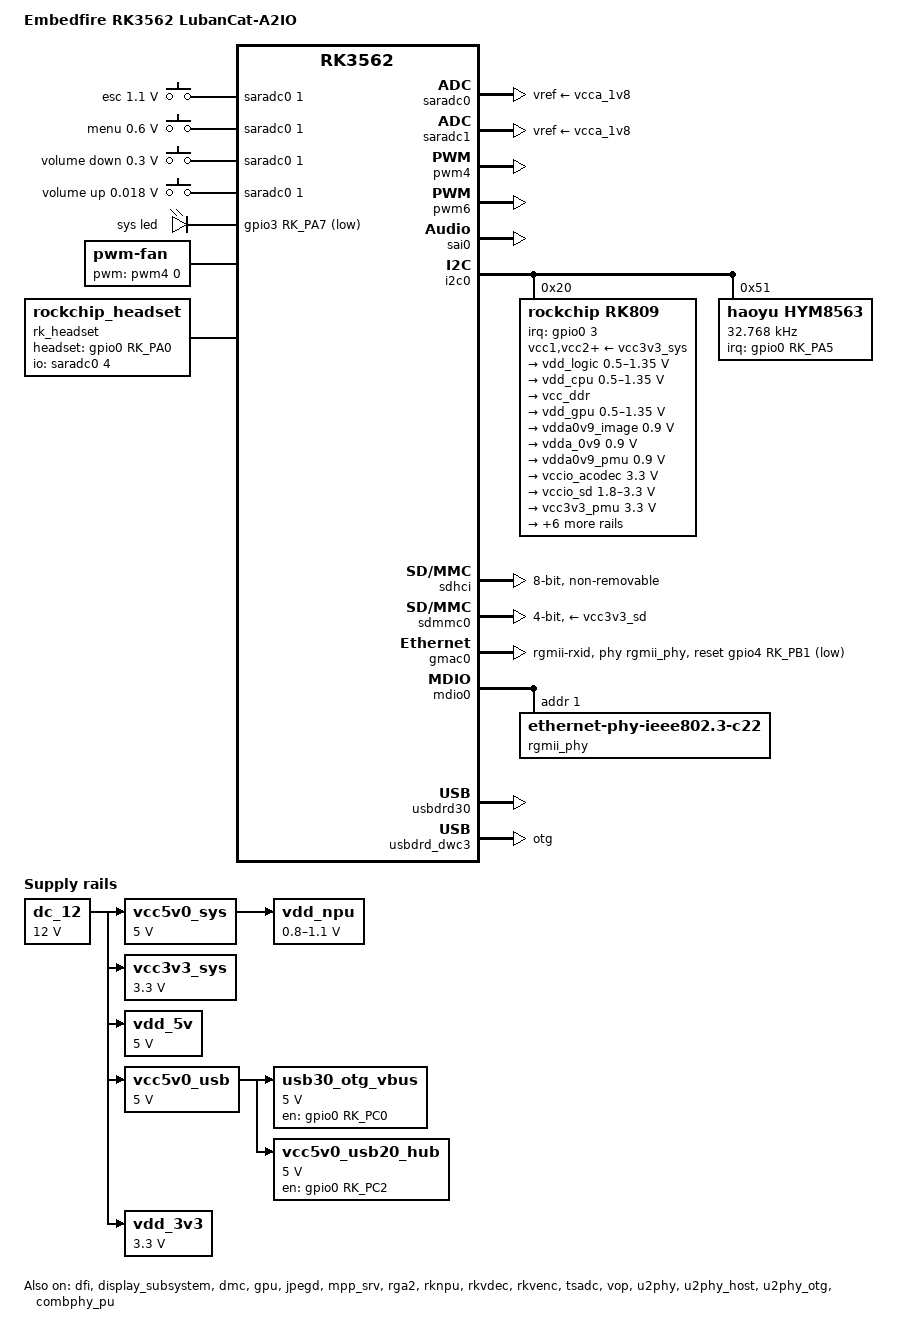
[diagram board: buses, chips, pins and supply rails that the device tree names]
// SPDX-License-Identifier: (GPL-2.0+ OR MIT)
/*
 * Copyright (c) 2022 Rockchip Electronics Co., Ltd.
 *
 */

/dts-v1/;

#include <dt-bindings/display/drm_mipi_dsi.h>
#include <dt-bindings/gpio/gpio.h>
#include <dt-bindings/input/input.h>
#include <dt-bindings/pinctrl/rockchip.h>
#include <dt-bindings/pinctrl/rockchip.h>
#include <dt-bindings/sensor-dev.h>
#include "dt-bindings/usb/pd.h"
#include "rk3562.dtsi"
#include "rk3562-linux.dtsi"

/ {
    model = "Embedfire RK3562 LubanCat-A2IO";
    compatible = "embedfire,rk3562-lubancat-a2io", "rockchip,rk3562";

    adc-keys {
        compatible = "adc-keys";
        io-channels = <&saradc0 1>;
        io-channel-names = "buttons";
        poll-interval = <100>;
        keyup-threshold-microvolt = <1800000>;

        esc-key {
            linux,code = <KEY_ESC>;
            label = "esc";
            press-threshold-microvolt = <1100000>;
        };

        menu-key {
            linux,code = <KEY_MENU>;
            label = "menu";
            press-threshold-microvolt = <600000>;
        };

        vol-down-key {
            linux,code = <KEY_VOLUMEDOWN>;
            label = "volume down";
            press-threshold-microvolt = <300000>;
        };

        vol-up-key {
            linux,code = <KEY_VOLUMEUP>;
            label = "volume up";
            press-threshold-microvolt = <18000>;
        };
    };

    dc_12: dc-12v {
        compatible = "regulator-fixed";
        regulator-name = "dc_12v";
        regulator-always-on;
        regulator-boot-on;
        regulator-min-microvolt = <12000000>;
        regulator-max-microvolt = <12000000>;
    };

    vcc5v0_sys: vcc5v0-sys {
        compatible = "regulator-fixed";
        regulator-name = "vcc5v0_sys";
        regulator-always-on;
        regulator-boot-on;
        regulator-min-microvolt = <5000000>;
        regulator-max-microvolt = <5000000>;
        vin-supply = <&dc_12>;
    };

    vcc3v3_sys: vcc3v3-sys {
        compatible = "regulator-fixed";
        regulator-name = "vcc3v3_sys";
        regulator-always-on;
        regulator-boot-on;
        regulator-min-microvolt = <3300000>;
        regulator-max-microvolt = <3300000>;
        vin-supply = <&dc_12>;
    };

    vdd_5v: vdd-5v {
        compatible = "regulator-fixed";
        regulator-name = "vdd_5v";
        regulator-always-on;
        regulator-boot-on;
        regulator-min-microvolt = <5000000>;
        regulator-max-microvolt = <5000000>;
        vin-supply = <&dc_12>;
    };

    vcc5v0_usb: vcc5v0-usb {
        compatible = "regulator-fixed";
        regulator-name = "vcc5v0_usb";
        regulator-always-on;
        regulator-boot-on;
        regulator-min-microvolt = <5000000>;
        regulator-max-microvolt = <5000000>;
        vin-supply = <&dc_12>;
    };

    vdd_5v: vdd-5v {
        compatible = "regulator-fixed";
        regulator-name = "vdd_5v";
        regulator-always-on;
        regulator-boot-on;
        regulator-min-microvolt = <5000000>;
        regulator-max-microvolt = <5000000>;
        vin-supply = <&dc_12>;
    };

    vdd_3v3: vdd-3v3 {
        compatible = "regulator-fixed";
        regulator-name = "vdd_3v3";
        regulator-always-on;
        regulator-boot-on;
        regulator-min-microvolt = <3300000>;
        regulator-max-microvolt = <3300000>;
        vin-supply = <&dc_12>;
    };    

	vdd_npu: vdd-npu {
		compatible = "pwm-regulator";
		pwms = <&pwm6 0 5000 1>;
		regulator-name = "vdd_npu";
		regulator-min-microvolt = <800000>;
		regulator-max-microvolt = <1100000>;
		regulator-init-microvolt = <900000>;
		regulator-always-on;
		regulator-boot-on;
		regulator-settling-time-up-us = <250>;
		pwm-supply = <&vcc5v0_sys>;
		status = "okay";
	};

    usb30_otg_vbus: usb30-otg-vbus-regulator {
        compatible = "regulator-fixed";
        enable-active-high;
        regulator-min-microvolt = <5000000>;
        regulator-max-microvolt = <5000000>;
        gpio = <&gpio0 RK_PC0 GPIO_ACTIVE_HIGH>;
        pinctrl-names = "default";
        pinctrl-0 = <&usb30_otg_vbus_en>;
        regulator-name = "usb30_otg_vbus";
		vin-supply = <&vcc5v0_usb>;
    };

    vcc5v0_usb20_hub: vcc5v0-usb20-hub-regulator {
        compatible = "regulator-fixed";
        enable-active-high;
        regulator-min-microvolt = <5000000>;
        regulator-max-microvolt = <5000000>;
        gpio = <&gpio0 RK_PC2 GPIO_ACTIVE_HIGH>;
        pinctrl-names = "default";
        pinctrl-0 = <&vcc5v0_usb20_hub_en>;
        regulator-name = "vcc5v0_usb20_hub";
		vin-supply = <&vcc5v0_usb>;
    };

	leds: leds {
		status = "okay";
		compatible = "gpio-leds";

		sys_led: sys-led {
			label = "sys led";
			linux,default-trigger = "heartbeat";
			default-state = "on";
			gpios = <&gpio3 RK_PA7 GPIO_ACTIVE_LOW>;
			pinctrl-names = "default";
			pinctrl-0 = <&sys_led_pin>;
		};
	};

    fan: pwm-fan {
        compatible = "pwm-fan";
        #cooling-cells = <2>;
        pwms = <&pwm4 0 5000 0>;
        cooling-levels = <0 100 150 200 255>;
        rockchip,temp-trips = <
            35000   1
            40000   2
            45000   3
            50000   4
        >;
    };

    rk809_sound: rk809-sound {
        status = "okay";
        compatible = "simple-audio-card";
        simple-audio-card,format = "i2s";
        simple-audio-card,name = "rockchip,rk809-codec";
        simple-audio-card,mclk-fs = <256>;
        simple-audio-card,widgets =
            "Microphone", "Mic Jack",
            "Headphone", "Headphone Jack";
        simple-audio-card,routing =
            "Mic Jack", "MICBIAS1",
            "IN1P", "Mic Jack",
            "Headphone Jack", "HPOL",
            "Headphone Jack", "HPOR";
        simple-audio-card,cpu {
            sound-dai = <&sai0>;
        };
        simple-audio-card,codec {
            sound-dai = <&rk809_codec>;
        };
    };

    rk_headset: rk-headset {
        status = "okay";
        compatible = "rockchip_headset";
        headset_gpio = <&gpio0 RK_PA0 GPIO_ACTIVE_HIGH>;
        pinctrl-names = "default";
        pinctrl-0 = <&hp_det>;
        io-channels = <&saradc0 4>;
    };
};

&cpu0 {
	cpu-supply = <&vdd_cpu>;
};

&dfi {
	status = "okay";
};

&display_subsystem {
	status = "okay";
};

&dmc {
	center-supply = <&vdd_logic>;
	status = "okay";
};

&gpu {
	status = "okay";
	mali-supply = <&vdd_gpu>;
};

&jpegd {
	status = "okay";
};

&jpegd_mmu {
	status = "okay";
};

&mpp_srv {
	status = "okay";
};

&rga2 {
	status = "okay";
};

&rga2_mmu {
	status = "okay";
};

&rknpu {
	rknpu-supply = <&vdd_npu>;
	status = "okay";
};

&rknpu_mmu {
	status = "okay";
};

&rkvdec {
	status = "okay";
};

&rkvdec_mmu {
	status = "okay";
};

&rkvenc {
	status = "okay";
};

&rkvenc_mmu {
	status = "okay";
};

&tsadc {
	status = "okay";
};

&vop {
	status = "okay";
};

&vop_mmu {
	status = "okay";
};

&saradc0 {
	status = "okay";
	vref-supply = <&vcca_1v8>;
};

&saradc1 {
	status = "okay";
	vref-supply = <&vcca_1v8>;
};

&pwm4 {
	status = "okay";
};

&pwm6 {
	status = "okay";
};

&sai0 {
	status = "okay";
	pinctrl-names = "default";
	pinctrl-0 = <&i2s0m0_lrck
		     &i2s0m0_sclk
		     &i2s0m0_sdi0
		     &i2s0m0_sdo0>;
};

&i2c0 {
	status = "okay";

	rk809: pmic@20 {
		compatible = "rockchip,rk809";
		reg = <0x20>;
		interrupt-parent = <&gpio0>;
		interrupts = <3 IRQ_TYPE_LEVEL_LOW>;

		pinctrl-names = "default", "pmic-sleep",
			"pmic-power-off", "pmic-reset";
		pinctrl-0 = <&pmic_int>;
		pinctrl-1 = <&soc_slppin_slp>, <&rk817_slppin_slp>;
		pinctrl-2 = <&soc_slppin_gpio>, <&rk817_slppin_pwrdn>;
		pinctrl-3 = <&soc_slppin_gpio>, <&rk817_slppin_rst>;
		rockchip,system-power-controller;
		wakeup-source;
		#clock-cells = <1>;
		clock-output-names = "rk808-clkout1", "rk808-clkout2";
		/* 1: rst regs (default in codes), 0: rst the pmic */
		pmic-reset-func = <0>;
		/* not save the PMIC_POWER_EN register in uboot */
		not-save-power-en = <1>;

		vcc1-supply = <&vcc3v3_sys>;
		vcc2-supply = <&vcc3v3_sys>;
		vcc3-supply = <&vcc3v3_sys>;
		vcc4-supply = <&vcc3v3_sys>;
		vcc5-supply = <&vcc3v3_sys>;
		vcc6-supply = <&vcc3v3_sys>;
		vcc7-supply = <&vcc3v3_sys>;
		vcc8-supply = <&vcc3v3_sys>;
		vcc9-supply = <&vcc3v3_sys>;

		pwrkey {
			status = "okay";
		};

		pinctrl_rk8xx: pinctrl_rk8xx {
			gpio-controller;
			#gpio-cells = <2>;

			rk817_slppin_null: rk817_slppin_null {
				pins = "gpio_slp";
				function = "pin_fun0";
			};

			rk817_slppin_slp: rk817_slppin_slp {
				pins = "gpio_slp";
				function = "pin_fun1";
			};

			rk817_slppin_pwrdn: rk817_slppin_pwrdn {
				pins = "gpio_slp";
				function = "pin_fun2";
			};

			rk817_slppin_rst: rk817_slppin_rst {
				pins = "gpio_slp";
				function = "pin_fun3";
			};
		};

		regulators {
			vdd_logic: DCDC_REG1 {
				regulator-always-on;
				regulator-boot-on;
				regulator-min-microvolt = <500000>;
				regulator-max-microvolt = <1350000>;
				regulator-init-microvolt = <900000>;
				regulator-ramp-delay = <6001>;
				regulator-initial-mode = <0x2>;
				regulator-name = "vdd_logic";
				regulator-state-mem {
					regulator-off-in-suspend;
				};
			};

			vdd_cpu: DCDC_REG2 {
				regulator-always-on;
				regulator-boot-on;
				regulator-min-microvolt = <500000>;
				regulator-max-microvolt = <1350000>;
				regulator-init-microvolt = <900000>;
				regulator-ramp-delay = <6001>;
				regulator-initial-mode = <0x2>;
				regulator-name = "vdd_cpu";
				regulator-state-mem {
					regulator-off-in-suspend;
				};
			};

			vcc_ddr: DCDC_REG3 {
				regulator-always-on;
				regulator-boot-on;
				regulator-initial-mode = <0x2>;
				regulator-name = "vcc_ddr";
				regulator-state-mem {
					regulator-on-in-suspend;
				};
			};

			vdd_gpu: DCDC_REG4 {
				regulator-always-on;
				regulator-boot-on;
				regulator-min-microvolt = <500000>;
				regulator-max-microvolt = <1350000>;
				regulator-init-microvolt = <900000>;
				regulator-ramp-delay = <6001>;
				regulator-initial-mode = <0x2>;
				regulator-name = "vdd_gpu";
				regulator-state-mem {
					regulator-off-in-suspend;
				};
			};

			vdda0v9_image: LDO_REG1 {
				regulator-min-microvolt = <900000>;
				regulator-max-microvolt = <900000>;
				regulator-name = "vdda0v9_image";
				regulator-state-mem {
					regulator-off-in-suspend;
				};
			};

			vdda_0v9: LDO_REG2 {
				regulator-always-on;
				regulator-boot-on;
				regulator-min-microvolt = <900000>;
				regulator-max-microvolt = <900000>;
				regulator-name = "vdda_0v9";
				regulator-state-mem {
					regulator-off-in-suspend;
				};
			};

			vdda0v9_pmu: LDO_REG3 {
				regulator-always-on;
				regulator-boot-on;
				regulator-min-microvolt = <900000>;
				regulator-max-microvolt = <900000>;
				regulator-name = "vdda0v9_pmu";
				regulator-state-mem {
				regulator-on-in-suspend;
					regulator-suspend-microvolt = <900000>;
				};
			};

			vccio_acodec: LDO_REG4 {
				regulator-always-on;
				regulator-boot-on;
				regulator-min-microvolt = <3300000>;
				regulator-max-microvolt = <3300000>;
				regulator-name = "vccio_acodec";
				regulator-state-mem {
					regulator-off-in-suspend;
				};
			};

			vccio_sd: LDO_REG5 {
				regulator-always-on;
				regulator-boot-on;
				regulator-min-microvolt = <1800000>;
				regulator-max-microvolt = <3300000>;
				regulator-name = "vccio_sd";
				regulator-state-mem {
					regulator-off-in-suspend;
				};
			};

			vcc3v3_pmu: LDO_REG6 {
				regulator-always-on;
				regulator-boot-on;
				regulator-min-microvolt = <3300000>;
				regulator-max-microvolt = <3300000>;
				regulator-name = "vcc3v3_pmu";
				regulator-state-mem {
					regulator-on-in-suspend;
					regulator-suspend-microvolt = <3300000>;
				};
			};

			vcca_1v8: LDO_REG7 {
				regulator-always-on;
				regulator-boot-on;
				regulator-min-microvolt = <1800000>;
				regulator-max-microvolt = <1800000>;
				regulator-name = "vcca_1v8";
				regulator-state-mem {
					regulator-off-in-suspend;
				};
			};

			vcca1v8_pmu: LDO_REG8 {
				regulator-always-on;
				regulator-boot-on;
				regulator-min-microvolt = <1800000>;
				regulator-max-microvolt = <1800000>;
				regulator-name = "vcca1v8_pmu";
				regulator-state-mem {
				regulator-on-in-suspend;
					regulator-suspend-microvolt = <1800000>;
				};
			};

			vcca1v8_image: LDO_REG9 {
				regulator-min-microvolt = <1800000>;
				regulator-max-microvolt = <1800000>;
				regulator-name = "vcca1v8_image";
				regulator-state-mem {
					regulator-off-in-suspend;
				};
			};

			vcc_1v8: DCDC_REG5 {
				regulator-always-on;
				regulator-boot-on;
				regulator-min-microvolt = <1800000>;
				regulator-max-microvolt = <1800000>;
				regulator-name = "vcc_1v8";
				regulator-state-mem {
					regulator-off-in-suspend;
				};
			};

			vcc_3v3: SWITCH_REG1 {
				regulator-always-on;
				regulator-boot-on;
				regulator-name = "vcc_3v3";
				regulator-state-mem {
					regulator-off-in-suspend;
				};
			};

			vcc3v3_sd: SWITCH_REG2 {
				regulator-always-on;
				regulator-boot-on;
				regulator-name = "vcc3v3_sd";
				regulator-state-mem {
					regulator-off-in-suspend;
				};
			};
		};

		rk809_codec: codec {
			#sound-dai-cells = <0>;
			compatible = "rockchip,rk809-codec", "rockchip,rk817-codec";
			clocks = <&mclkout_sai0>;
			clock-names = "mclk";
			assigned-clocks = <&mclkout_sai0>;
			assigned-clock-rates = <12288000>;
			pinctrl-names = "default";
			pinctrl-0 = <&i2s0m0_mclk &spk_ctl_gpio>;
			spk-ctl-gpios = <&gpio0 RK_PA6 GPIO_ACTIVE_HIGH>;
			hp-volume = <20>;
			spk-volume = <3>;
			//mic-in-differential;
			status = "okay";
		};
    };

    hym8563: hym8563@51 {
        compatible = "haoyu,hym8563";
        reg = <0x51>;
        #clock-cells = <0>;
        clock-frequency = <32768>;
        clock-output-names = "hym8563";
        pinctrl-names = "default";
        pinctrl-0 = <&hym8563_int>;
        interrupt-parent = <&gpio0>;
        interrupts = <RK_PA5 IRQ_TYPE_LEVEL_LOW>;
        wakeup-source;
    };
};

&sdhci {
	bus-width = <8>;
	no-sdio;
	no-sd;
	non-removable;
	max-frequency = <200000000>;
	mmc-hs400-1_8v;
	mmc-hs400-enhanced-strobe;
	full-pwr-cycle-in-suspend;
	pinctrl-names = "default";
	pinctrl-0 = <&emmc_bus8 &emmc_clk &emmc_cmd &emmc_strb>;
	status = "okay";
};

&sdmmc0 {
	no-sdio;
	no-mmc;
	bus-width = <4>;
	cap-mmc-highspeed;
	cap-sd-highspeed;
	disable-wp;
	sd-uhs-sdr104;
	vmmc-supply = <&vcc3v3_sd>;
	vqmmc-supply = <&vccio_sd>;
	pinctrl-names = "default";
	pinctrl-0 = <&sdmmc0_bus4 &sdmmc0_clk &sdmmc0_cmd &sdmmc0_det>;
	status = "okay";
};

&gmac0 {
	/* Use rgmii-rxid mode to disable rx delay inside Soc */
	phy-mode = "rgmii-rxid";
	clock_in_out = "output";

	snps,reset-gpio = <&gpio4 RK_PB1 GPIO_ACTIVE_LOW>;
	snps,reset-active-low;
	/* Reset time is 20ms, 100ms for rtl8211f */
	snps,reset-delays-us = <0 20000 100000>;

	tx_delay = <0x1b>;
	/* rx_delay = <0x3f>; */

	pinctrl-names = "default";
	pinctrl-0 = <&rgmiim0_miim
		     &rgmiim0_tx_bus2
		     &rgmiim0_rx_bus2
		     &rgmiim0_rgmii_clk
		     &rgmiim0_rgmii_bus
		     &rgmiim0_clk>;

	phy-handle = <&rgmii_phy>;
	status = "okay";
};

&mdio0 {
	rgmii_phy: phy@1 {
		compatible = "ethernet-phy-ieee802.3-c22";
		reg = <0x1>;
		clocks = <&cru CLK_GMAC_ETH_OUT2IO>;
		assigned-clocks = <&cru CLK_GMAC_ETH_OUT2IO>;
		assigned-clock-rates = <25000000>;
	};
};

/* USB OTG/USB Host_1 USB 2.0 Comb PHY */
&u2phy {
    status = "okay";
};

/* USB20 HOST1 */
&u2phy_host {
	status = "okay";
	phy-supply = <&vcc5v0_usb20_hub>;
};

/* USB20 OTG */
&u2phy_otg {
	status = "okay";
	vbus-supply = <&usb30_otg_vbus>;
};

/* USB 3.0 OTG/pcie2x1 Combo PHY */
&combphy_pu {
	status = "okay";
};

/* USB 3.0 OTG controller */
&usbdrd30 {
	status = "okay";
};

&usbdrd_dwc3 {
	status = "okay";
	dr_mode = "otg";
	extcon = <&u2phy>;
};

&pinctrl {
	leds {
        sys_led_pin: sys-led-pin {
            rockchip,pins = <3 RK_PA7 RK_FUNC_GPIO &pcfg_pull_none>;
        };
	};

    headphone {
        hp_det: hp-det {
            rockchip,pins = <0 RK_PA0 RK_FUNC_GPIO &pcfg_pull_none>;
        };
    };

    rk809_spk {
        spk_ctl_gpio: spk_ctl_gpio {
            rockchip,pins = <1 RK_PB1 RK_FUNC_GPIO &pcfg_pull_up>;
        };
    };

    usb {
        usb30_otg_vbus_en: usb30-otg-vbus-en {
            rockchip,pins = <0 RK_PC0 RK_FUNC_GPIO &pcfg_pull_none>;
        };

        vcc5v0_usb20_hub_en: vcc5v0-usb20-hub-en {
            rockchip,pins = <0 RK_PC2 RK_FUNC_GPIO &pcfg_pull_none>;
        };
    };

	rtc {
		hym8563_int: hym8563-int {
			rockchip,pins = <0 RK_PA5 RK_FUNC_GPIO &pcfg_pull_up>;
		};
	};
};
